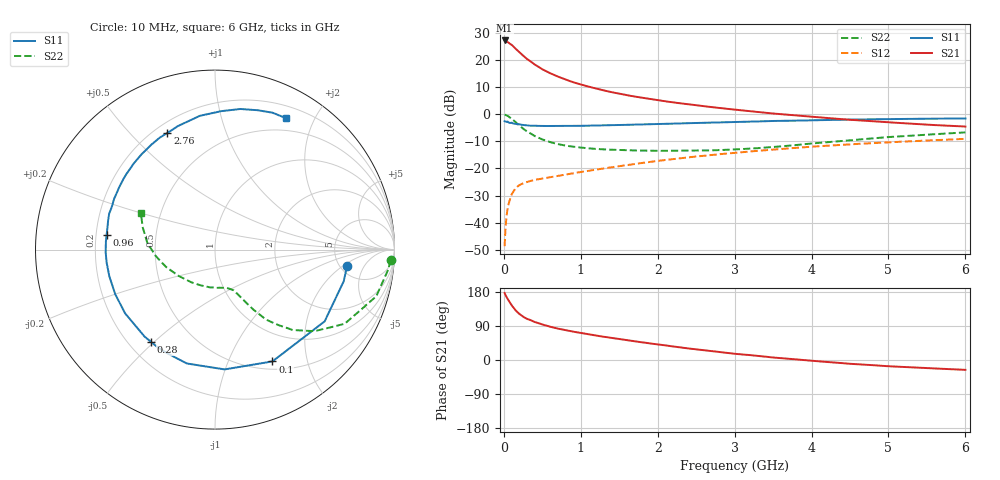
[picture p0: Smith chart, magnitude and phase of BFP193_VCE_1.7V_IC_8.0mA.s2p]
! Infineon Technologies  Discrete & RF Semiconductors
! BFP193
! VCE = 1.7 V,  IC =  8.0 mA
! Common Emitter S-Parameters:  Jan 2016
# GHz  S  MA  R  50
!  f  S11  S21  S12  S22
! GHz  MAG  ANG  MAG  ANG  MAG  ANG  MAG  ANG
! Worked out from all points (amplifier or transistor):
!   210 points, 10 MHz to 6 GHz, reference 50 ohm
!   highest |S21| = 27.2 dB at 10 MHz (marker M1)
!   |S21| within 3 dB of that: start of sweep to 151.6 MHz
!   unconditionally stable (mu >= 1): 1.058 GHz to 3.724 GHz
!   at 185 MHz: K = 0.28, MSG = 24.9 dB, |S12| = -26.5 dB
!   at 1.52 GHz: K = 1.10, MAG = 11.4 dB, |S12| = -19.1 dB
!   at 6 GHz: K = 0.92, MSG = 2.3 dB, |S12| = -9.1 dB
!   S11 on the Smith chart (normalised r, x): 10 MHz: 5.73, -2.37; 100 MHz: 0.60, -1.47; 280 MHz: 0.29, -0.49; 960 MHz: 0.24, +0.06; 2.76 GHz: 0.25, +0.64; 6 GHz: 0.34, +1.62
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0.01  0.7415 -7.2  22.83 176.8  0.0037 88.8  0.9804 -3.4
0.02  0.7386 -13.8  22.25 171.6  0.0072 83.2  0.9714 -6.6
0.05  0.7301 -33.2  21.38 160.7  0.0188 75.1  0.9352 -16.2
0.1  0.7003 -62.8  19.1 144.6  0.033 62.1  0.8322 -29.8
0.15  0.6697 -85.4  16.24 131.3  0.043 52.6  0.7172 -39.3
0.2  0.6536 -103.9  13.98 121.8  0.0492 47.3  0.623 -46.0
0.24  0.6356 -115.4  12.37 115.9  0.0525 43.9  0.557 -49.5
0.28  0.6256 -124.7  11.05 111.1  0.0552 41.8  0.5055 -52.4
0.3  0.6235 -129.0  10.44 108.7  0.0564 41.0  0.4823 -53.9
0.4  0.6141 -144.7  8.251 100.3  0.0616 38.7  0.3966 -57.4
0.5  0.6088 -156.0  6.724 93.5  0.0653 38.2  0.3426 -59.6
0.6  0.6073 -165.7  5.705 87.9  0.0692 38.9  0.3059 -61.3
0.7  0.608 -173.0  4.949 82.9  0.0729 39.9  0.2812 -62.8
0.96  0.6091 172.5  3.661 72.8  0.0842 41.8  0.2459 -66.2
1.02  0.6108 169.4  3.457 70.5  0.0868 42.3  0.2408 -67.3
1.4  0.6294 153.2  2.543 58.4  0.1051 44.5  0.2217 -75.0
2.02  0.6602 133.0  1.794 40.6  0.1387 44.3  0.2111 -91.8
2.76  0.702 112.2  1.322 22.1  0.1805 40.5  0.2169 -117.1
3.1  0.723 104.6  1.174 14.7  0.2001 37.8  0.2279 -129.7
4.1  0.7756 85.9  0.874 -3.6  0.257 28.7  0.296 -163.2
5.1  0.8144 71.8  0.695 -17.4  0.3082 18.1  0.386 171.9
6  0.8319 61.8  0.592 -26.0  0.3512 8.0  0.4619 153.6
